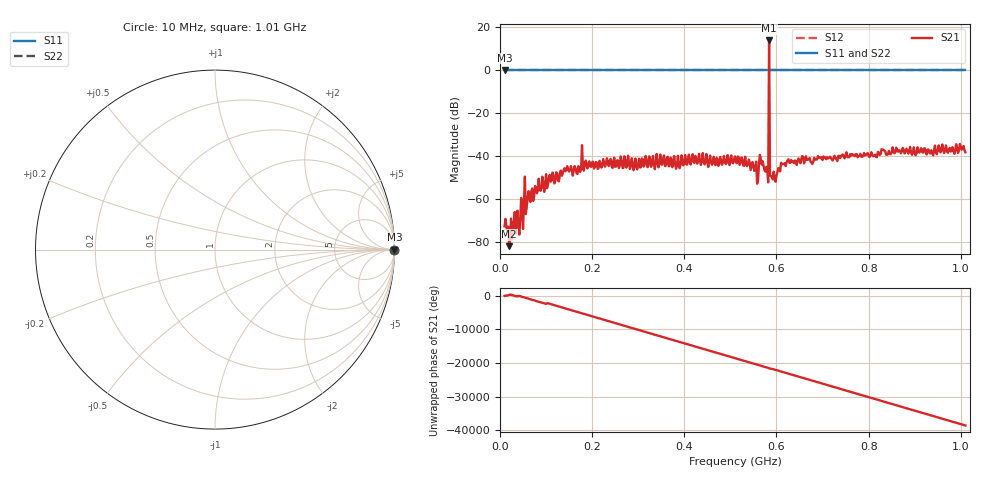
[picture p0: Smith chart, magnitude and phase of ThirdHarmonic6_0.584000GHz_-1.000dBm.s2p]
! 8/15/2025 6:54:24 PM
! C:\ANRITSUVNA\TEMP\TEMP.S2P
! CHANNEL.1
! TR.MEASUREMENT
! RAW.DATA
! RF.CORRECTION.OFF
! AVERAGING.OFF
! IF.BANDWIDTH: 5KHZ
! SWEEPTYPE:  FREQ.SWEEP(Linear)
! Reference Plane Port Info
! PORT:  PORT1  PORT2
! DISTANCE:  0  m  0  m
! TIME:  0  s  0  s
! PHASE.OFFSET:  0  deg.  0  deg.
! LOSS:  0  dB  0  dB
! REF.LOSS:  0  dB  0  dB
! REF.FREQ:  0  Hz  0  Hz
! Power Info
! POWER:  -20  dBm  -20  dBm
! EFF.POWER:  -20  dBm  -20  dBm
! SOURCE.ATTEN:  0  dB  0  dB
! TEST.ATTEN:  0  dB  0  dB
# GHZ S RI R 50.0
! FREQ.GHZ  S11RE  S11IM  S21RE  S21IM  S12RE  S12IM  S22RE  S22IM
!; PortSelection: Port_12
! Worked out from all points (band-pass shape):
!   501 points, 10 MHz to 1.01 GHz, reference 50 ohm
!   highest |S21| = 13.76 dB at 584 MHz (marker M1); lowest = -81.8 dB at 20 MHz (marker M2)
!   |S21| within 3 dB of the highest: 583.909 MHz to 584.0957 MHz (186.7 kHz wide, 0.032 % of centre)
!   lowest |S11| = 0.0 dB at 10 MHz (marker M3)
!   |S11| at or under -10 dB: nowhere
!   |S22| runs from 0.0 to 0.0 dB; largest |S21 - S12| = 3.9
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0.01  1 0  0.000193 -0.000135  1 0  1 0
0.02  1 0  -4.37e-05 -6.82e-05  1 0  1 0
0.034  1 0  -0.000153 -4.86e-05  1 0  1 0
0.038  1 0  -0.000543 1.37e-05  1 0  1 0
0.046  1 0  -0.00101 0.000339  1 0  1 0
0.05  1 0  0.000203 5.9e-06  1 0  1 0
0.08  1 0  -0.00133 -0.000312  1 0  1 0
0.178  1 0  -0.0171 -0.00546  1 0  1 0
0.344  1 0  0.00546 -0.000602  1 0  1 0
0.51  1 0  -0.00959 0.00216  1 0  1 0
0.552  1 0  0.00144 -0.00431  1 0  1 0
0.556  1 0  -0.0049 0.0056  1 0  1 0
0.568  1 0  0.00635 0.00051  1 0  1 0
0.578  1 0  0.00423 -0.00377  1 0  1 0
0.58  1 0  -0.00395 -0.00271  1 0  1 0
0.584  1 0  4.858 0.4313  1 0  1 0
0.588  1 0  -0.0009 -0.00328  1 0  1 0
0.59  1 0  -0.00275 -0.00205  1 0  1 0
0.628  1 0  -0.00662 0.00228  1 0  1 0
0.678  1 0  0.00389 -0.00531  1 0  1 0
0.844  1 0  -0.00758 0.0109  1 0  1 0
1.01  1 0  0.00731 -0.00986  1 0  1 0
